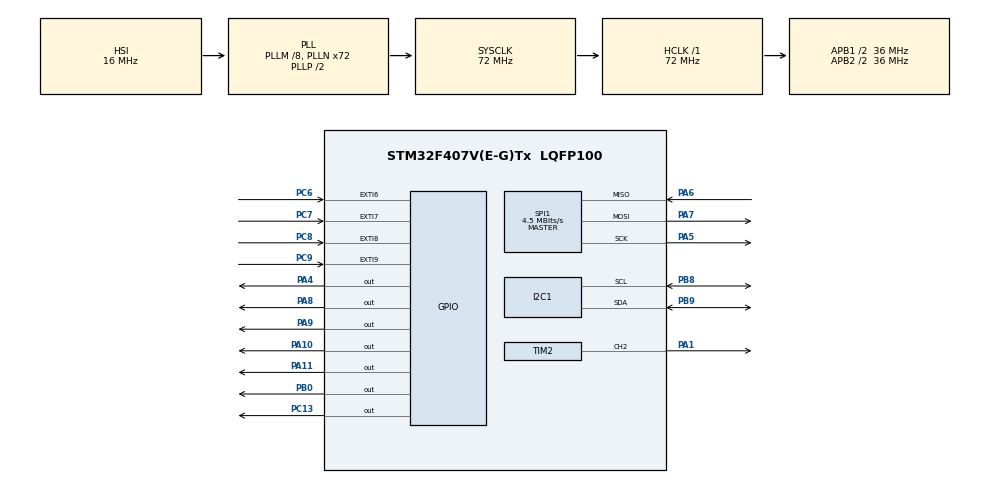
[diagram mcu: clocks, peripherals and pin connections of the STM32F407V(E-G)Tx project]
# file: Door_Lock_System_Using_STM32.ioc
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Mcu.Family=STM32F4
Mcu.Name=STM32F407V(E-G)Tx
Mcu.Package=LQFP100
NVIC.EXTI9_5_IRQn=true\:0\:0\:false\:false\:true\:true\:true\:true
NVIC.PriorityGroup=NVIC_PRIORITYGROUP_0
PA1.Signal=S_TIM2_CH2
PA10.Signal=GPIO_Output
PA11.Signal=GPIO_Output
PA13.Mode=Serial_Wire
PA13.Signal=SYS_JTMS-SWDIO
PA14.Mode=Serial_Wire
PA14.Signal=SYS_JTCK-SWCLK
PA4.Signal=GPIO_Output
PA5.Mode=Full_Duplex_Master
PA5.Signal=SPI1_SCK
PA6.Mode=Full_Duplex_Master
PA6.Signal=SPI1_MISO
PA7.Mode=Full_Duplex_Master
PA7.Signal=SPI1_MOSI
PA8.Signal=GPIO_Output
PA9.Signal=GPIO_Output
PB0.Signal=GPIO_Output
PB8.Mode=I2C
PB8.Signal=I2C1_SCL
PB9.Mode=I2C
PB9.Signal=I2C1_SDA
PC13-ANTI_TAMP.Signal=GPIO_Output
PC6.Signal=GPXTI6
PC7.Signal=GPXTI7
PC8.Signal=GPXTI8
PC9.Signal=GPXTI9
PH0-OSC_IN.Mode=HSE-External-Oscillator
PH0-OSC_IN.Signal=RCC_OSC_IN
PH1-OSC_OUT.Mode=HSE-External-Oscillator
PH1-OSC_OUT.Signal=RCC_OSC_OUT
ProjectManager.HeapSize=0x200
ProjectManager.StackSize=0x400
ProjectManager.TargetToolchain=STM32CubeIDE
RCC.48MHZClocksFreq_Value=20571428.57142857
RCC.AHBFreq_Value=72000000
RCC.APB1CLKDivider=RCC_HCLK_DIV2
RCC.APB1Freq_Value=36000000
RCC.APB1TimFreq_Value=72000000
RCC.APB2CLKDivider=RCC_HCLK_DIV2
RCC.APB2Freq_Value=36000000
RCC.APB2TimFreq_Value=72000000
RCC.CortexFreq_Value=72000000
RCC.HCLKFreq_Value=72000000
RCC.HSE_VALUE=8000000
RCC.HSI_VALUE=16000000
RCC.LSE_VALUE=32768
RCC.PLLM=8
RCC.PLLN=72
RCC.PLLQ=7
RCC.SYSCLKFreq_VALUE=72000000
RCC.SYSCLKSource=RCC_SYSCLKSOURCE_PLLCLK
RCC.VCOOutputFreq_Value=144000000
SH.S_TIM2_CH2.0=TIM2_CH2,PWM Generation2 CH2
SPI1.BaudRatePrescaler=SPI_BAUDRATEPRESCALER_8
SPI1.CalculateBaudRate=4.5 MBits/s
SPI1.Direction=SPI_DIRECTION_2LINES
SPI1.Mode=SPI_MODE_MASTER
SPI1.VirtualType=VM_MASTER
TIM2.Channel-PWM\ Generation2\ CH2=TIM_CHANNEL_2
TIM2.Period=10000-1
TIM2.Prescaler=144-1
VP_TIM2_VS_ClockSourceINT.Mode=Internal
board=STM32F407G-DISC1

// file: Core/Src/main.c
/* USER CODE BEGIN Header */
/**
  ******************************************************************************
  * @file           : main.c
  * @brief          : Main program body
  ******************************************************************************
  * @attention
  *
  * Copyright (c) 2024 STMicroelectronics.
  * All rights reserved.
  *
  * This software is licensed under terms that can be found in the LICENSE file
  * in the root directory of this software component.
  * If no LICENSE file comes with this software, it is provided AS-IS.
  *
  ******************************************************************************
  */
/* USER CODE END Header */
#include "main.h"

/* USER CODE BEGIN Includes */
#include "rc522.h"
#include "string.h"
#include "liquidcrystal_i2c.h"
#include "keypad.h"
/* USER CODE END Includes */

I2C_HandleTypeDef hi2c1;

SPI_HandleTypeDef hspi1;

TIM_HandleTypeDef htim2;

/* USER CODE BEGIN PV */
uint8_t status;
uint8_t str[MAX_LEN]; // Max_LEN = 16
uint8_t sNum[5];
char keypadInput[10];
int inputIndex = 0;
const char correctPassword[] = "ABCD1234";
/* USER CODE END PV */

void SystemClock_Config(void);
static void MX_GPIO_Init(void);
static void MX_SPI1_Init(void);
static void MX_I2C1_Init(void);
static void MX_TIM2_Init(void);

/* USER CODE BEGIN 0 */
void updateDoorState(const char* state, uint32_t angle) {
    // Set servo position
    __HAL_TIM_SET_COMPARE(&htim2, TIM_CHANNEL_2, angle);

    // Update LCD display
    HD44780_SetCursor(0, 0);
    HD44780_PrintStr(state);

    HAL_Delay(1000); // Adjust delay for synchronization
}
void checkKeypadInput()
{
    char key = Keypad_GetKey(); // Get key from keypad
    if (key != 0)
    {   // Check if a key is pressed
        if (key == '#')
            {
                // Lock door
                updateDoorState("Door Locked", 180);
            }
        else
        {
            // Collect keypad input
            keypadInput[inputIndex++] = key;
            if (inputIndex >= sizeof(keypadInput) - 1)
            {
                inputIndex = sizeof(keypadInput) - 1;
            }

            // Check password
            if (strcmp(keypadInput, correctPassword) == 0)
            {
                // Unlock door
                updateDoorState("Door Unlocked", 0);
                memset(keypadInput, 0, sizeof(keypadInput));
                inputIndex = 0;
            }
        }
    }
}

/* USER CODE END 0 */

int main(void)
{

  /* MCU Configuration--------------------------------------------------------*/

  /* Reset of all peripherals, Initializes the Flash interface and the Systick. */
  HAL_Init();

  /* Configure the system clock */
  SystemClock_Config();

  /* Initialize all configured peripherals */
  MX_GPIO_Init();
  MX_SPI1_Init();
  MX_I2C1_Init();
  MX_TIM2_Init();
  /* USER CODE BEGIN 2 */
  MFRC522_Init();
  HD44780_Init(2);
  HD44780_Clear();
  HAL_TIM_PWM_Start(&htim2, TIM_CHANNEL_2);
  Keypad_Init(); // Initialize the keypad
  /* USER CODE END 2 */

  /* Infinite loop */
  /* USER CODE BEGIN WHILE */
  while (1)
  {
      uint8_t status;
      uint8_t str[MAX_LEN]; // Max_LEN = 16
      // Request for RFID tag
      status = MFRC522_Request(PICC_REQIDL, str);
      if (status == MI_OK) {
          status = MFRC522_Anticoll(str);
          if (status == MI_OK) {
              // RFID tag detected
              updateDoorState("Door_Unlocked", 0);
          } else {
              // Error in Anticoll
              updateDoorState("Error_in_Anticoll", 180);
          }
      }
      else
      {
        // No RFID tag detected
          updateDoorState("Door_Locked", 180);
      }
      checkKeypadInput();

    /* USER CODE END WHILE */

  }
}

void SystemClock_Config(void)
{
  RCC_OscInitTypeDef RCC_OscInitStruct = {0};
  RCC_ClkInitTypeDef RCC_ClkInitStruct = {0};

  /** Configure the main internal regulator output voltage
  */
  __HAL_RCC_PWR_CLK_ENABLE();
  __HAL_PWR_VOLTAGESCALING_CONFIG(PWR_REGULATOR_VOLTAGE_SCALE1);

  /** Initializes the RCC Oscillators according to the specified parameters
  * in the RCC_OscInitTypeDef structure.
  */
  RCC_OscInitStruct.OscillatorType = RCC_OSCILLATORTYPE_HSI;
  RCC_OscInitStruct.HSIState = RCC_HSI_ON;
  RCC_OscInitStruct.HSICalibrationValue = RCC_HSICALIBRATION_DEFAULT;
  RCC_OscInitStruct.PLL.PLLState = RCC_PLL_ON;
  RCC_OscInitStruct.PLL.PLLSource = RCC_PLLSOURCE_HSI;
  RCC_OscInitStruct.PLL.PLLM = 8;
  RCC_OscInitStruct.PLL.PLLN = 72;
  RCC_OscInitStruct.PLL.PLLP = RCC_PLLP_DIV2;
  RCC_OscInitStruct.PLL.PLLQ = 7;
  if (HAL_RCC_OscConfig(&RCC_OscInitStruct) != HAL_OK)
  {
    Error_Handler();
  }

  /** Initializes the CPU, AHB and APB buses clocks
  */
  RCC_ClkInitStruct.ClockType = RCC_CLOCKTYPE_HCLK|RCC_CLOCKTYPE_SYSCLK
                              |RCC_CLOCKTYPE_PCLK1|RCC_CLOCKTYPE_PCLK2;
  RCC_ClkInitStruct.SYSCLKSource = RCC_SYSCLKSOURCE_PLLCLK;
  RCC_ClkInitStruct.AHBCLKDivider = RCC_SYSCLK_DIV1;
  RCC_ClkInitStruct.APB1CLKDivider = RCC_HCLK_DIV2;
  RCC_ClkInitStruct.APB2CLKDivider = RCC_HCLK_DIV2;

  if (HAL_RCC_ClockConfig(&RCC_ClkInitStruct, FLASH_LATENCY_2) != HAL_OK)
  {
    Error_Handler();
  }
}

static void MX_I2C1_Init(void)
{

  hi2c1.Instance = I2C1;
  hi2c1.Init.ClockSpeed = 100000;
  hi2c1.Init.DutyCycle = I2C_DUTYCYCLE_2;
  hi2c1.Init.OwnAddress1 = 0;
  hi2c1.Init.AddressingMode = I2C_ADDRESSINGMODE_7BIT;
  hi2c1.Init.DualAddressMode = I2C_DUALADDRESS_DISABLE;
  hi2c1.Init.OwnAddress2 = 0;
  hi2c1.Init.GeneralCallMode = I2C_GENERALCALL_DISABLE;
  hi2c1.Init.NoStretchMode = I2C_NOSTRETCH_DISABLE;
  if (HAL_I2C_Init(&hi2c1) != HAL_OK)
  {
    Error_Handler();
  }

}

static void MX_SPI1_Init(void)
{

  /* SPI1 parameter configuration*/
  hspi1.Instance = SPI1;
  hspi1.Init.Mode = SPI_MODE_MASTER;
  hspi1.Init.Direction = SPI_DIRECTION_2LINES;
  hspi1.Init.DataSize = SPI_DATASIZE_8BIT;
  hspi1.Init.CLKPolarity = SPI_POLARITY_LOW;
  hspi1.Init.CLKPhase = SPI_PHASE_1EDGE;
  hspi1.Init.NSS = SPI_NSS_SOFT;
  hspi1.Init.BaudRatePrescaler = SPI_BAUDRATEPRESCALER_8;
  hspi1.Init.FirstBit = SPI_FIRSTBIT_MSB;
  hspi1.Init.TIMode = SPI_TIMODE_DISABLE;
  hspi1.Init.CRCCalculation = SPI_CRCCALCULATION_DISABLE;
  hspi1.Init.CRCPolynomial = 10;
  if (HAL_SPI_Init(&hspi1) != HAL_OK)
  {
    Error_Handler();
  }

}

static void MX_TIM2_Init(void)
{

  TIM_ClockConfigTypeDef sClockSourceConfig = {0};
  TIM_MasterConfigTypeDef sMasterConfig = {0};
  TIM_OC_InitTypeDef sConfigOC = {0};

  htim2.Instance = TIM2;
  htim2.Init.Prescaler = 144-1;
  htim2.Init.CounterMode = TIM_COUNTERMODE_UP;
  htim2.Init.Period = 10000-1;
  htim2.Init.ClockDivision = TIM_CLOCKDIVISION_DIV1;
  htim2.Init.AutoReloadPreload = TIM_AUTORELOAD_PRELOAD_DISABLE;
  if (HAL_TIM_Base_Init(&htim2) != HAL_OK)
  {
    Error_Handler();
  }
  sClockSourceConfig.ClockSource = TIM_CLOCKSOURCE_INTERNAL;
  if (HAL_TIM_ConfigClockSource(&htim2, &sClockSourceConfig) != HAL_OK)
  {
    Error_Handler();
  }
  if (HAL_TIM_PWM_Init(&htim2) != HAL_OK)
  {
    Error_Handler();
  }
  sMasterConfig.MasterOutputTrigger = TIM_TRGO_RESET;
  sMasterConfig.MasterSlaveMode = TIM_MASTERSLAVEMODE_DISABLE;
  if (HAL_TIMEx_MasterConfigSynchronization(&htim2, &sMasterConfig) != HAL_OK)
  {
    Error_Handler();
  }
  sConfigOC.OCMode = TIM_OCMODE_PWM1;
  sConfigOC.Pulse = 0;
  sConfigOC.OCPolarity = TIM_OCPOLARITY_HIGH;
  sConfigOC.OCFastMode = TIM_OCFAST_DISABLE;
  if (HAL_TIM_PWM_ConfigChannel(&htim2, &sConfigOC, TIM_CHANNEL_2) != HAL_OK)
  {
    Error_Handler();
  }
  HAL_TIM_MspPostInit(&htim2);

}

static void MX_GPIO_Init(void)
{
  GPIO_InitTypeDef GPIO_InitStruct = {0};

  /* GPIO Ports Clock Enable */
  __HAL_RCC_GPIOC_CLK_ENABLE();
  __HAL_RCC_GPIOH_CLK_ENABLE();
  __HAL_RCC_GPIOA_CLK_ENABLE();
  __HAL_RCC_GPIOB_CLK_ENABLE();

  /*Configure GPIO pin Output Level */
  HAL_GPIO_WritePin(GPIOC, GPIO_PIN_13, GPIO_PIN_RESET);

  /*Configure GPIO pin Output Level */
  HAL_GPIO_WritePin(GPIOA, GPIO_PIN_4|GPIO_PIN_8|GPIO_PIN_9|GPIO_PIN_10
                          |GPIO_PIN_11, GPIO_PIN_RESET);

  /*Configure GPIO pin Output Level */
  HAL_GPIO_WritePin(GPIOB, GPIO_PIN_0, GPIO_PIN_RESET);

  /*Configure GPIO pin : PC13 */
  GPIO_InitStruct.Pin = GPIO_PIN_13;
  GPIO_InitStruct.Mode = GPIO_MODE_OUTPUT_PP;
  GPIO_InitStruct.Pull = GPIO_NOPULL;
  GPIO_InitStruct.Speed = GPIO_SPEED_FREQ_LOW;
  HAL_GPIO_Init(GPIOC, &GPIO_InitStruct);

  /*Configure GPIO pins : PA4 PA8 PA9 PA10
                           PA11 */
  GPIO_InitStruct.Pin = GPIO_PIN_4|GPIO_PIN_8|GPIO_PIN_9|GPIO_PIN_10
                          |GPIO_PIN_11;
  GPIO_InitStruct.Mode = GPIO_MODE_OUTPUT_PP;
  GPIO_InitStruct.Pull = GPIO_NOPULL;
  GPIO_InitStruct.Speed = GPIO_SPEED_FREQ_LOW;
  HAL_GPIO_Init(GPIOA, &GPIO_InitStruct);

  /*Configure GPIO pin : PB0 */
  GPIO_InitStruct.Pin = GPIO_PIN_0;
  GPIO_InitStruct.Mode = GPIO_MODE_OUTPUT_PP;
  GPIO_InitStruct.Pull = GPIO_NOPULL;
  GPIO_InitStruct.Speed = GPIO_SPEED_FREQ_LOW;
  HAL_GPIO_Init(GPIOB, &GPIO_InitStruct);

  /*Configure GPIO pins : PC6 PC7 PC8 PC9 */
  GPIO_InitStruct.Pin = GPIO_PIN_6|GPIO_PIN_7|GPIO_PIN_8|GPIO_PIN_9;
  GPIO_InitStruct.Mode = GPIO_MODE_IT_RISING;
  GPIO_InitStruct.Pull = GPIO_NOPULL;
  HAL_GPIO_Init(GPIOC, &GPIO_InitStruct);

  /* EXTI interrupt init*/
  HAL_NVIC_SetPriority(EXTI9_5_IRQn, 0, 0);
  HAL_NVIC_EnableIRQ(EXTI9_5_IRQn);

}

void Error_Handler(void)
{
  __disable_irq();
  while (1)
  {
  }
}
